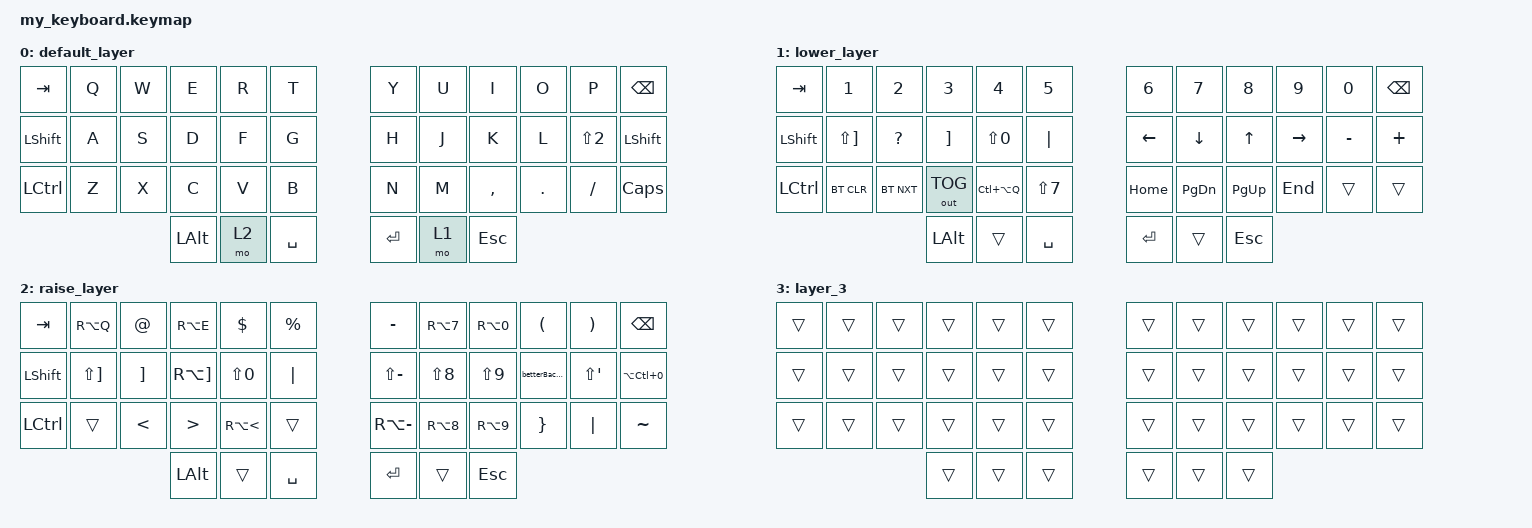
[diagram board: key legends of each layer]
/*
 * Copyright (c) 2020 The ZMK Contributors
 *
 * SPDX-License-Identifier: MIT
 */

#include <behaviors.dtsi>
#include <dt-bindings/zmk/bt.h>
#include <dt-bindings/zmk/keys.h>
#include <dt-bindings/zmk/outputs.h>

/ {
    macros {
        betterBackTick: betterBackTick {
            compatible = "zmk,behavior-macro";
            #binding-cells = <0>;
            bindings = <&kp EQUAL &kp SPACE>;
            label = "BETTERBACKTICK";
        };
    };

    keymap {
        compatible = "zmk,keymap";

        default_layer {
            // -----------------------------------------------------------------------------------------
            // |  TAB |  Q  |  W  |  E  |  R  |  T  |   |  Y  |  U   |  I  |  O  |  P  | BKSP |
            // | CTRL |  A  |  S  |  D  |  F  |  G  |   |  H  |  J   |  K  |  L  |  ;  |  '   |
            // | SHFT |  Z  |  X  |  C  |  V  |  B  |   |  N  |  M   |  ,  |  .  |  /  | ESC  |
            //                    | GUI | LWR | SPC |   | ENT | RSE  | ALT |

            bindings = <
&kp TAB           &kp Q  &kp W  &kp E         &kp R  &kp T        &kp Y      &kp U  &kp I       &kp O    &kp P             &kp BSPC
&kp LEFT_SHIFT    &kp A  &kp S  &kp D         &kp F  &kp G        &kp H      &kp J  &kp K       &kp L    &kp LS(NUMBER_2)  &kp LEFT_SHIFT
&kp LEFT_CONTROL  &kp Z  &kp X  &kp C         &kp V  &kp B        &kp N      &kp M  &kp COMMA   &kp DOT  &kp FSLH          &kp CAPS
                                &kp LEFT_ALT  &mo 2  &kp SPACE    &kp ENTER  &mo 1  &kp ESCAPE
            >;
        };

        lower_layer {
            // -----------------------------------------------------------------------------------------
            // |  TAB |  1  |  2  |  3  |  4  |  5  |   |  6  |  7  |  8  |  9  |  0  | BKSP |
            // | BTCLR| BT1 | BT2 | BT3 | BT4 | BT5 |   | LFT | DWN |  UP | RGT |     |      |
            // | SHFT |     |     |     |     |     |   |     |     |     |     |     |      |
            //                    | GUI |     | SPC |   | ENT |     | ALT |

            bindings = <
&kp TAB     &kp N1                 &kp N2        &kp N3             &kp N4         &kp N5        &kp N6    &kp N7         &kp N8       &kp N9     &kp N0     &kp BSPC
&kp LSHIFT  &kp LS(RIGHT_BRACKET)  &kp QUESTION  &kp RIGHT_BRACKET  &kp LS(N0)     &kp PIPE      &kp LEFT  &kp DOWN       &kp UP       &kp RIGHT  &kp MINUS  &kp PLUS
&kp LCTRL   &bt BT_CLR             &bt BT_NXT    &out OUT_TOG       &kp LC(LA(Q))  &kp LS(N7)    &kp HOME  &kp PAGE_DOWN  &kp PAGE_UP  &kp END    &trans     &trans
                                                 &kp LALT           &trans         &kp SPACE     &kp RET   &trans         &kp ESC
            >;
        };

        raise_layer {
            // -----------------------------------------------------------------------------------------
            // |  TAB |  !  |  @  |  #  |  $  |  %  |   |  ^  |  &  |  *  |  (  |  )  | BKSP |
            // | CTRL |     |     |     |     |     |   |  -  |  =  |  [  |  ]  |  \  |  `   |
            // | SHFT |     |     |     |     |     |   |  _  |  +  |  {  |  }  | "|" |  ~   |
            //                    | GUI |     | SPC |   | ENT |     | ALT |

            bindings = <
&kp TAB    &kp RA(Q)              &kp AT             &kp RA(E)              &kp DLLR           &kp PRCNT    &kp MINUS      &kp RA(N7)  &kp RA(N0)  &kp LPAR         &kp RPAR     &kp BSPC
&kp LSHFT  &kp LS(RIGHT_BRACKET)  &kp RIGHT_BRACKET  &kp RA(RIGHT_BRACKET)  &kp LS(N0)         &kp PIPE     &kp LS(MINUS)  &kp LS(N8)  &kp LS(N9)  &betterBackTick  &kp LS(SQT)  &kp LA(LC(N0))
&kp LCTRL  &trans                 &kp LESS_THAN      &kp GREATER_THAN       &kp RA(LESS_THAN)  &trans       &kp RA(MINUS)  &kp RA(N8)  &kp RA(N9)  &kp RBRC         &kp PIPE     &kp TILDE
                                                     &kp LALT               &trans             &kp SPACE    &kp RET        &trans      &kp ESC
            >;
        };

        layer_3 {
            bindings = <
&trans  &trans  &trans  &trans  &trans  &trans    &trans  &trans  &trans  &trans  &trans  &trans
&trans  &trans  &trans  &trans  &trans  &trans    &trans  &trans  &trans  &trans  &trans  &trans
&trans  &trans  &trans  &trans  &trans  &trans    &trans  &trans  &trans  &trans  &trans  &trans
                        &trans  &trans  &trans    &trans  &trans  &trans
            >;
        };
    };
};
